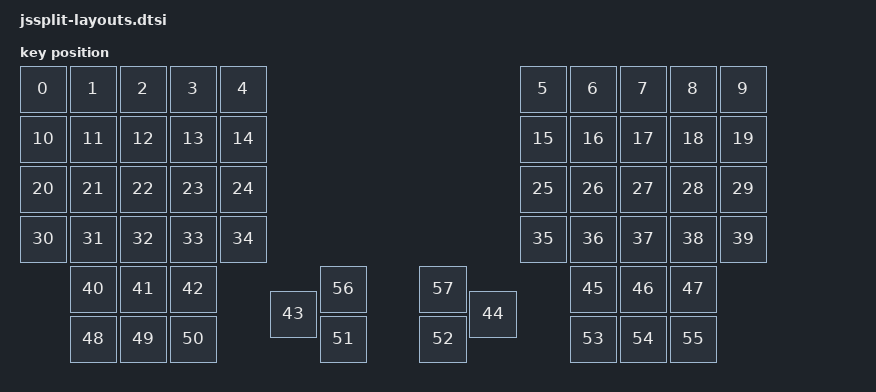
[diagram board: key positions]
#include <physical_layouts.dtsi>

/ {
    physical_layout_jssplit: physical_layout_jssplit {
        compatible = "zmk,physical-layout";
        display-name = "JSsplit";
        keys  //                     w   h    x    y     rot    rx    ry
            = <&key_physical_attrs 100 100    0    0       0     0     0>
            , <&key_physical_attrs 100 100  100    0       0     0     0>
            , <&key_physical_attrs 100 100  200    0       0     0     0>
            , <&key_physical_attrs 100 100  300    0       0     0     0>
            , <&key_physical_attrs 100 100  400    0       0     0     0>
            , <&key_physical_attrs 100 100 1000    0       0     0     0>
            , <&key_physical_attrs 100 100 1100    0       0     0     0>
            , <&key_physical_attrs 100 100 1200    0       0     0     0>
            , <&key_physical_attrs 100 100 1300    0       0     0     0>
            , <&key_physical_attrs 100 100 1400    0       0     0     0>
            , <&key_physical_attrs 100 100    0  100       0     0     0>
            , <&key_physical_attrs 100 100  100  100       0     0     0>
            , <&key_physical_attrs 100 100  200  100       0     0     0>
            , <&key_physical_attrs 100 100  300  100       0     0     0>
            , <&key_physical_attrs 100 100  400  100       0     0     0>
            , <&key_physical_attrs 100 100 1000  100       0     0     0>
            , <&key_physical_attrs 100 100 1100  100       0     0     0>
            , <&key_physical_attrs 100 100 1200  100       0     0     0>
            , <&key_physical_attrs 100 100 1300  100       0     0     0>
            , <&key_physical_attrs 100 100 1400  100       0     0     0>
            , <&key_physical_attrs 100 100    0  200       0     0     0>
            , <&key_physical_attrs 100 100  100  200       0     0     0>
            , <&key_physical_attrs 100 100  200  200       0     0     0>
            , <&key_physical_attrs 100 100  300  200       0     0     0>
            , <&key_physical_attrs 100 100  400  200       0     0     0>
            , <&key_physical_attrs 100 100 1000  200       0     0     0>
            , <&key_physical_attrs 100 100 1100  200       0     0     0>
            , <&key_physical_attrs 100 100 1200  200       0     0     0>
            , <&key_physical_attrs 100 100 1300  200       0     0     0>
            , <&key_physical_attrs 100 100 1400  200       0     0     0>
            , <&key_physical_attrs 100 100    0  300       0     0     0>
            , <&key_physical_attrs 100 100  100  300       0     0     0>
            , <&key_physical_attrs 100 100  200  300       0     0     0>
            , <&key_physical_attrs 100 100  300  300       0     0     0>
            , <&key_physical_attrs 100 100  400  300       0     0     0>
            , <&key_physical_attrs 100 100 1000  300       0     0     0>
            , <&key_physical_attrs 100 100 1100  300       0     0     0>
            , <&key_physical_attrs 100 100 1200  300       0     0     0>
            , <&key_physical_attrs 100 100 1300  300       0     0     0>
            , <&key_physical_attrs 100 100 1400  300       0     0     0>
            , <&key_physical_attrs 100 100  100  400       0     0     0>
            , <&key_physical_attrs 100 100  200  400       0     0     0>
            , <&key_physical_attrs 100 100  300  400       0     0     0>
            , <&key_physical_attrs 100 100  500  450       0     0     0>
            , <&key_physical_attrs 100 100  900  450       0     0     0>
            , <&key_physical_attrs 100 100 1100  400       0     0     0>
            , <&key_physical_attrs 100 100 1200  400       0     0     0>
            , <&key_physical_attrs 100 100 1300  400       0     0     0>
            , <&key_physical_attrs 100 100  100  500       0     0     0>
            , <&key_physical_attrs 100 100  200  500       0     0     0>
            , <&key_physical_attrs 100 100  300  500       0     0     0>
            , <&key_physical_attrs 100 100  600  500       0     0     0>
            , <&key_physical_attrs 100 100  800  500       0     0     0>
            , <&key_physical_attrs 100 100 1100  500       0     0     0>
            , <&key_physical_attrs 100 100 1200  500       0     0     0>
            , <&key_physical_attrs 100 100 1300  500       0     0     0>
            , <&key_physical_attrs 100 100  600  400       0     0     0>
            , <&key_physical_attrs 100 100  800  400       0     0     0>
            ;
    };
};
